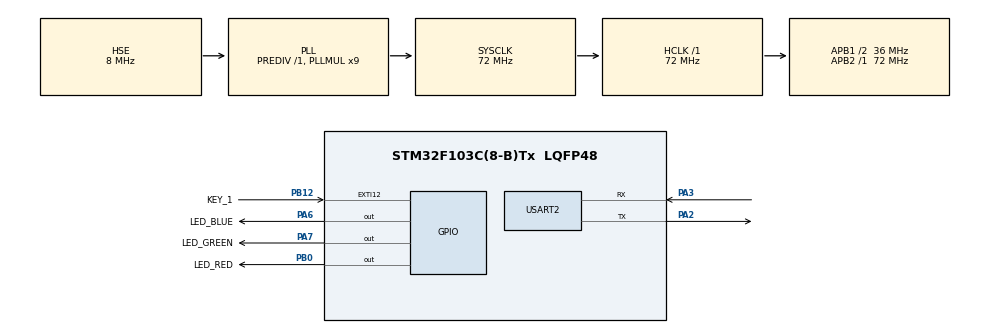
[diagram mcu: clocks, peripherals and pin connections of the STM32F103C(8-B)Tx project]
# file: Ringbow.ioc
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Mcu.Family=STM32F1
Mcu.Name=STM32F103C(8-B)Tx
Mcu.Package=LQFP48
NVIC.EXTI15_10_IRQn=true\:12\:0\:true\:false\:true\:true\:true\:true
NVIC.PriorityGroup=NVIC_PRIORITYGROUP_4
NVIC.TIM4_IRQn=true\:14\:0\:true\:false\:true\:true\:true\:true
NVIC.USART2_IRQn=true\:13\:0\:true\:false\:true\:true\:true\:true
PA13.Mode=Serial_Wire
PA13.Signal=SYS_JTMS-SWDIO
PA14.Mode=Serial_Wire
PA14.Signal=SYS_JTCK-SWCLK
PA2.Mode=Asynchronous
PA2.Signal=USART2_TX
PA3.Mode=Asynchronous
PA3.Signal=USART2_RX
PA6.GPIO_Label=LED_BLUE
PA6.Signal=GPIO_Output
PA7.GPIO_Label=LED_GREEN
PA7.GPIO_ModeDefaultOutputPP=GPIO_MODE_OUTPUT_PP
PA7.GPIO_PuPd=GPIO_NOPULL
PA7.Signal=GPIO_Output
PB0.GPIO_Label=LED_RED
PB0.Signal=GPIO_Output
PB12.GPIO_Label=KEY_1
PB12.GPIO_ModeDefaultEXTI=GPIO_MODE_IT_FALLING
PB12.Signal=GPXTI12
PD0-OSC_IN.Mode=HSE-External-Oscillator
PD0-OSC_IN.Signal=RCC_OSC_IN
PD1-OSC_OUT.Mode=HSE-External-Oscillator
PD1-OSC_OUT.Signal=RCC_OSC_OUT
ProjectManager.HeapSize=0x200
ProjectManager.StackSize=0x400
ProjectManager.TargetToolchain=MDK-ARM V5.32
RCC.AHBFreq_Value=72000000
RCC.APB1CLKDivider=RCC_HCLK_DIV2
RCC.APB1Freq_Value=36000000
RCC.APB1TimFreq_Value=72000000
RCC.APB2Freq_Value=72000000
RCC.APB2TimFreq_Value=72000000
RCC.HCLKFreq_Value=72000000
RCC.PLLMUL=RCC_PLL_MUL9
RCC.PLLSourceVirtual=RCC_PLLSOURCE_HSE
RCC.SYSCLKFreq_VALUE=72000000
RCC.SYSCLKSource=RCC_SYSCLKSOURCE_PLLCLK
RCC.USBFreq_Value=72000000
TIM4.Period=9999
TIM4.Prescaler=7199
USART2.VirtualMode=VM_ASYNC
VP_TIM4_VS_ClockSourceINT.Mode=Internal
board=custom

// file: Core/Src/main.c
/* USER CODE BEGIN Header */
/**
  ******************************************************************************
  * @file           : main.c
  * @brief          : Main program body
  ******************************************************************************
  * @attention
  *
  * Copyright (c) 2024 STMicroelectronics.
  * All rights reserved.
  *
  * This software is licensed under terms that can be found in the LICENSE file
  * in the root directory of this software component.
  * If no LICENSE file comes with this software, it is provided AS-IS.
  *
  ******************************************************************************
  */
/* USER CODE END Header */
#include "main.h"

/* USER CODE BEGIN Includes */
	uint32_t flag=0;
	uint32_t lastFlag = 0;

	char message[] ={"Hello world"};
	uint8_t revdata[2];
	uint32_t countnum;
	#include"string.h"
	#include"stdio.h"
/* USER CODE END Includes */

TIM_HandleTypeDef htim4;

UART_HandleTypeDef huart2;

/* USER CODE BEGIN PV */

char DAD[]="Water menlon";
void HAL_TIM_PeriodElapsedCallback(TIM_HandleTypeDef *htim)
{
if(htim==&htim4)
	{
	if(flag == 0){

		countnum=0;
		return;

	}
	//HAL_UART_Transmit_IT(&huart2,(uint8_t*)DAD,strlen(DAD));
		countnum++;

	if (countnum == 7) {
        countnum = 0;

	}
}
	};
/*void HAL_UART_RxCpltCallback(UART_HandleTypeDef *huart)
	{

		HAL_UART_Transmit_IT(&huart2,revdata,2);
			if (revdata[0] == '1') {
            // ?????????????11,???????
           rainbow_LED_effect ();
        } else {
            // ??????????11,????????
					revdata[0]='0';
					revdata[1]='0';
        }

				HAL_UART_Receive_IT(&huart2,revdata,2);
	};*/
/* USER CODE END PV */

void SystemClock_Config(void);
static void MX_GPIO_Init(void);
static void MX_USART2_UART_Init(void);
static void MX_TIM4_Init(void);

/* USER CODE BEGIN 0 */

void rainbow_LED_effect(void) {

        // ??
        HAL_GPIO_WritePin(GPIOA, GPIO_PIN_7, GPIO_PIN_RESET);
        HAL_GPIO_WritePin(GPIOA, GPIO_PIN_6, GPIO_PIN_SET);
        HAL_GPIO_WritePin(GPIOB, GPIO_PIN_0, GPIO_PIN_SET);
        HAL_Delay(1000);

        // ??
        HAL_GPIO_WritePin(GPIOA, GPIO_PIN_7, GPIO_PIN_RESET);
        HAL_GPIO_WritePin(GPIOA, GPIO_PIN_6, GPIO_PIN_SET);
        HAL_GPIO_WritePin(GPIOB, GPIO_PIN_0, GPIO_PIN_RESET);
        HAL_Delay(1000);

        // ??
        HAL_GPIO_WritePin(GPIOA, GPIO_PIN_7, GPIO_PIN_SET);
        HAL_GPIO_WritePin(GPIOA, GPIO_PIN_6, GPIO_PIN_SET);
        HAL_GPIO_WritePin(GPIOB, GPIO_PIN_0, GPIO_PIN_RESET);
        HAL_Delay(1000);

        // ??
        HAL_GPIO_WritePin(GPIOA, GPIO_PIN_7, GPIO_PIN_SET);
        HAL_GPIO_WritePin(GPIOA, GPIO_PIN_6, GPIO_PIN_RESET);
        HAL_GPIO_WritePin(GPIOB, GPIO_PIN_0, GPIO_PIN_RESET);
        HAL_Delay(1000);

        // ??
        HAL_GPIO_WritePin(GPIOA, GPIO_PIN_7, GPIO_PIN_SET);
        HAL_GPIO_WritePin(GPIOA, GPIO_PIN_6, GPIO_PIN_RESET);
        HAL_GPIO_WritePin(GPIOB, GPIO_PIN_0, GPIO_PIN_SET);
        HAL_Delay(1000);

        // ??
        HAL_GPIO_WritePin(GPIOA, GPIO_PIN_7, GPIO_PIN_RESET);
        HAL_GPIO_WritePin(GPIOA, GPIO_PIN_6, GPIO_PIN_RESET);
        HAL_GPIO_WritePin(GPIOB, GPIO_PIN_0, GPIO_PIN_SET);
        HAL_Delay(1000);

        // ??
        HAL_GPIO_WritePin(GPIOA, GPIO_PIN_7, GPIO_PIN_RESET);
        HAL_GPIO_WritePin(GPIOA, GPIO_PIN_6, GPIO_PIN_SET);
        HAL_GPIO_WritePin(GPIOB, GPIO_PIN_0, GPIO_PIN_RESET);
        HAL_Delay(1000);

				HAL_GPIO_WritePin(GPIOA, GPIO_PIN_7, GPIO_PIN_RESET);
        HAL_GPIO_WritePin(GPIOA, GPIO_PIN_6, GPIO_PIN_RESET);
        HAL_GPIO_WritePin(GPIOB, GPIO_PIN_0, GPIO_PIN_RESET);

				revdata[0]='0';
				revdata[1]='0';

}
/* USER CODE END 0 */

int main(void)
{

  /* USER CODE BEGIN 1 */
	//HAL_UART_Receive_IT(&huart2,revdata,2);
	//HAL_UART_Transmit_IT(&huart2,revdata,2);
  /* USER CODE END 1 */

  /* MCU Configuration--------------------------------------------------------*/

  /* Reset of all peripherals, Initializes the Flash interface and the Systick. */
  HAL_Init();

  /* Configure the system clock */
  SystemClock_Config();

  /* Initialize all configured peripherals */
  MX_GPIO_Init();
  MX_USART2_UART_Init();
  MX_TIM4_Init();
  /* USER CODE BEGIN 2 */
	//HAL_UART_Receive_IT(&huart2,revdata,2);
	//HAL_GPIO_WritePin(GPIOA, GPIO_PIN_7, GPIO_PIN_SET);
	HAL_TIM_Base_Start_IT(&htim4);
	//int count =0;
	//char MES[20];

  /* USER CODE END 2 */

  /* Infinite loop */
  /* USER CODE BEGIN WHILE */
  while (1)
  {
      if (flag == 0) {
        // ? flag ? 0 ?,????????
        HAL_GPIO_WritePin(GPIOA, GPIO_PIN_7, GPIO_PIN_RESET);
        HAL_GPIO_WritePin(GPIOA, GPIO_PIN_6, GPIO_PIN_RESET);
        HAL_GPIO_WritePin(GPIOB, GPIO_PIN_0, GPIO_PIN_RESET);
        lastFlag = 0; // ?? lastFlag ???????
    } else {
        // ??? flag ???????? GPIO ??
        if (flag != lastFlag) {
            HAL_GPIO_WritePin(GPIOA, GPIO_PIN_7, GPIO_PIN_RESET);
            HAL_GPIO_WritePin(GPIOA, GPIO_PIN_6, GPIO_PIN_RESET);
            HAL_GPIO_WritePin(GPIOB, GPIO_PIN_0, GPIO_PIN_RESET);
            lastFlag = flag; // ?? lastFlag
        }
			}
        switch (countnum)
        {
            case 1:
                HAL_GPIO_WritePin(GPIOA, GPIO_PIN_7, GPIO_PIN_RESET);
                HAL_GPIO_WritePin(GPIOA, GPIO_PIN_6, GPIO_PIN_SET);
                HAL_GPIO_WritePin(GPIOB, GPIO_PIN_0, GPIO_PIN_SET);
                break;
            case 2:
                HAL_GPIO_WritePin(GPIOA, GPIO_PIN_7, GPIO_PIN_RESET);
                HAL_GPIO_WritePin(GPIOA, GPIO_PIN_6, GPIO_PIN_SET);
                HAL_GPIO_WritePin(GPIOB, GPIO_PIN_0, GPIO_PIN_RESET);
                break;
            case 3:
                HAL_GPIO_WritePin(GPIOA, GPIO_PIN_7, GPIO_PIN_SET);
                HAL_GPIO_WritePin(GPIOA, GPIO_PIN_6, GPIO_PIN_SET);
                HAL_GPIO_WritePin(GPIOB, GPIO_PIN_0, GPIO_PIN_RESET);
                break;
            case 4:
                HAL_GPIO_WritePin(GPIOA, GPIO_PIN_7, GPIO_PIN_SET);
                HAL_GPIO_WritePin(GPIOA, GPIO_PIN_6, GPIO_PIN_RESET);
                HAL_GPIO_WritePin(GPIOB, GPIO_PIN_0, GPIO_PIN_RESET);
                break;
            case 5:
                HAL_GPIO_WritePin(GPIOA, GPIO_PIN_7, GPIO_PIN_SET);
                HAL_GPIO_WritePin(GPIOA, GPIO_PIN_6, GPIO_PIN_RESET);
                HAL_GPIO_WritePin(GPIOB, GPIO_PIN_0, GPIO_PIN_SET);
                break;
            case 6:
                HAL_GPIO_WritePin(GPIOA, GPIO_PIN_7, GPIO_PIN_RESET);
                HAL_GPIO_WritePin(GPIOA, GPIO_PIN_6, GPIO_PIN_RESET);
                HAL_GPIO_WritePin(GPIOB, GPIO_PIN_0, GPIO_PIN_SET);
                break;
            case 7:
                HAL_GPIO_WritePin(GPIOA, GPIO_PIN_7, GPIO_PIN_RESET);
                HAL_GPIO_WritePin(GPIOA, GPIO_PIN_6, GPIO_PIN_RESET);
                HAL_GPIO_WritePin(GPIOB, GPIO_PIN_0, GPIO_PIN_RESET);
                break;
            default:
                // ????,??????????????
                break;
        }

				//count =__HAL_TIM_GetCounter(&htim4);
				//sprintf(MES,"couter:%d\n",count);
				//HAL_UART_Transmit_IT(&huart2,(uint8_t*)MES,strlen(MES));
				//HAL_Delay(99);

				//HAL_GPIO_WritePin(GPIOA, GPIO_PIN_7, GPIO_PIN_RESET);
        //HAL_GPIO_WritePin(GPIOA, GPIO_PIN_6, GPIO_PIN_RESET);
        //HAL_GPIO_WritePin(GPIOB, GPIO_PIN_0, GPIO_PIN_SET);
    /* USER CODE END WHILE */

    /* USER CODE BEGIN 3 */
		//HAL_UART_Transmit_IT(&huart2,revdata,2);

		//HAL_UART_Receive(&huart2,revdata,2,100);// Delay function
		//HAL_UART_Transmit(&huart2,revdata,2,HAL_MAX_DELAY);
    //HAL_Delay(1000);

        // ??????????

    }
		//

		//HAL_UART_Receive(&huart2,(uint8_t*)revdata,strlen((char*)revdata),HAL_MAX_DELAY);

		//HAL_Delay(1000);

///		if(flag == 1) {
    // ??????,???rainbow_LED_effect()??
    //rainbow_LED_effect();
//} else {
    // ??????,????????

//}

		//HAL_GPIO_ReadPin(KEY_1_GPIO_Port, KEY_1_Pin);

//  }
  /* USER CODE END 3 */
}

void SystemClock_Config(void)
{
  RCC_OscInitTypeDef RCC_OscInitStruct = {0};
  RCC_ClkInitTypeDef RCC_ClkInitStruct = {0};

  /** Initializes the RCC Oscillators according to the specified parameters
  * in the RCC_OscInitTypeDef structure.
  */
  RCC_OscInitStruct.OscillatorType = RCC_OSCILLATORTYPE_HSE;
  RCC_OscInitStruct.HSEState = RCC_HSE_ON;
  RCC_OscInitStruct.HSEPredivValue = RCC_HSE_PREDIV_DIV1;
  RCC_OscInitStruct.HSIState = RCC_HSI_ON;
  RCC_OscInitStruct.PLL.PLLState = RCC_PLL_ON;
  RCC_OscInitStruct.PLL.PLLSource = RCC_PLLSOURCE_HSE;
  RCC_OscInitStruct.PLL.PLLMUL = RCC_PLL_MUL9;
  if (HAL_RCC_OscConfig(&RCC_OscInitStruct) != HAL_OK)
  {
    Error_Handler();
  }

  /** Initializes the CPU, AHB and APB buses clocks
  */
  RCC_ClkInitStruct.ClockType = RCC_CLOCKTYPE_HCLK|RCC_CLOCKTYPE_SYSCLK
                              |RCC_CLOCKTYPE_PCLK1|RCC_CLOCKTYPE_PCLK2;
  RCC_ClkInitStruct.SYSCLKSource = RCC_SYSCLKSOURCE_PLLCLK;
  RCC_ClkInitStruct.AHBCLKDivider = RCC_SYSCLK_DIV1;
  RCC_ClkInitStruct.APB1CLKDivider = RCC_HCLK_DIV2;
  RCC_ClkInitStruct.APB2CLKDivider = RCC_HCLK_DIV1;

  if (HAL_RCC_ClockConfig(&RCC_ClkInitStruct, FLASH_LATENCY_2) != HAL_OK)
  {
    Error_Handler();
  }
}

static void MX_TIM4_Init(void)
{

  TIM_ClockConfigTypeDef sClockSourceConfig = {0};
  TIM_MasterConfigTypeDef sMasterConfig = {0};

  htim4.Instance = TIM4;
  htim4.Init.Prescaler = 7199;
  htim4.Init.CounterMode = TIM_COUNTERMODE_UP;
  htim4.Init.Period = 9999;
  htim4.Init.ClockDivision = TIM_CLOCKDIVISION_DIV1;
  htim4.Init.AutoReloadPreload = TIM_AUTORELOAD_PRELOAD_DISABLE;
  if (HAL_TIM_Base_Init(&htim4) != HAL_OK)
  {
    Error_Handler();
  }
  sClockSourceConfig.ClockSource = TIM_CLOCKSOURCE_INTERNAL;
  if (HAL_TIM_ConfigClockSource(&htim4, &sClockSourceConfig) != HAL_OK)
  {
    Error_Handler();
  }
  sMasterConfig.MasterOutputTrigger = TIM_TRGO_RESET;
  sMasterConfig.MasterSlaveMode = TIM_MASTERSLAVEMODE_DISABLE;
  if (HAL_TIMEx_MasterConfigSynchronization(&htim4, &sMasterConfig) != HAL_OK)
  {
    Error_Handler();
  }

}

static void MX_USART2_UART_Init(void)
{

  huart2.Instance = USART2;
  huart2.Init.BaudRate = 115200;
  huart2.Init.WordLength = UART_WORDLENGTH_8B;
  huart2.Init.StopBits = UART_STOPBITS_1;
  huart2.Init.Parity = UART_PARITY_NONE;
  huart2.Init.Mode = UART_MODE_TX_RX;
  huart2.Init.HwFlowCtl = UART_HWCONTROL_NONE;
  huart2.Init.OverSampling = UART_OVERSAMPLING_16;
  if (HAL_UART_Init(&huart2) != HAL_OK)
  {
    Error_Handler();
  }

}

static void MX_GPIO_Init(void)
{
  GPIO_InitTypeDef GPIO_InitStruct = {0};

  /* GPIO Ports Clock Enable */
  __HAL_RCC_GPIOD_CLK_ENABLE();
  __HAL_RCC_GPIOA_CLK_ENABLE();
  __HAL_RCC_GPIOB_CLK_ENABLE();

  /*Configure GPIO pin Output Level */
  HAL_GPIO_WritePin(GPIOA, LED_BLUE_Pin|LED_GREEN_Pin, GPIO_PIN_RESET);

  /*Configure GPIO pin Output Level */
  HAL_GPIO_WritePin(LED_RED_GPIO_Port, LED_RED_Pin, GPIO_PIN_RESET);

  /*Configure GPIO pins : LED_BLUE_Pin LED_GREEN_Pin */
  GPIO_InitStruct.Pin = LED_BLUE_Pin|LED_GREEN_Pin;
  GPIO_InitStruct.Mode = GPIO_MODE_OUTPUT_PP;
  GPIO_InitStruct.Pull = GPIO_NOPULL;
  GPIO_InitStruct.Speed = GPIO_SPEED_FREQ_LOW;
  HAL_GPIO_Init(GPIOA, &GPIO_InitStruct);

  /*Configure GPIO pin : LED_RED_Pin */
  GPIO_InitStruct.Pin = LED_RED_Pin;
  GPIO_InitStruct.Mode = GPIO_MODE_OUTPUT_PP;
  GPIO_InitStruct.Pull = GPIO_NOPULL;
  GPIO_InitStruct.Speed = GPIO_SPEED_FREQ_LOW;
  HAL_GPIO_Init(LED_RED_GPIO_Port, &GPIO_InitStruct);

  /*Configure GPIO pin : KEY_1_Pin */
  GPIO_InitStruct.Pin = KEY_1_Pin;
  GPIO_InitStruct.Mode = GPIO_MODE_IT_FALLING;
  GPIO_InitStruct.Pull = GPIO_NOPULL;
  HAL_GPIO_Init(KEY_1_GPIO_Port, &GPIO_InitStruct);

  /* EXTI interrupt init*/
  HAL_NVIC_SetPriority(EXTI15_10_IRQn, 12, 0);
  HAL_NVIC_EnableIRQ(EXTI15_10_IRQn);

}

void Error_Handler(void)
{
  __disable_irq();
  while (1)
  {
  }
}
